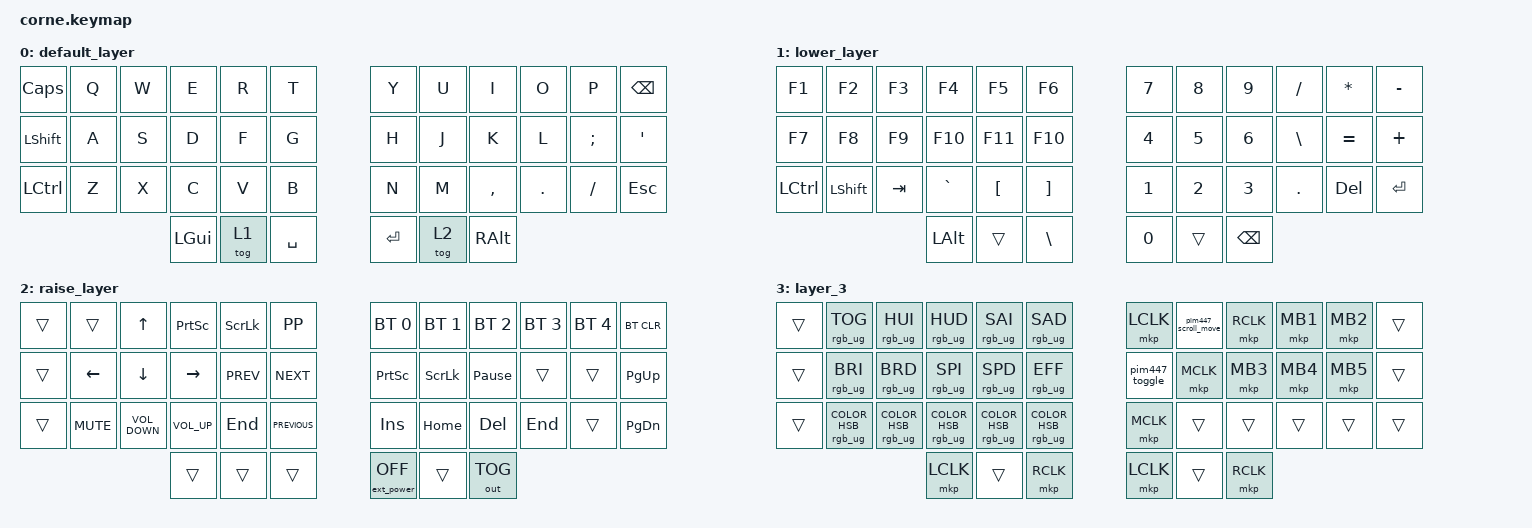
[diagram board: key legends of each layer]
/*
 * Copyright (c) 2021 The ZMK Contributors
 * #include <dt-bindings/zmk/pointing.h>
 * SPDX-License-Identifier: MIT
 */

#include <dt-bindings/led/led.h>
#include <dt-bindings/zmk/trackball_pim447.h>
#include <dt-bindings/behavior_pim447.h>
#include <dt-bindings/zmk/mouse.h>
#include <behaviors.dtsi>
#include <dt-bindings/zmk/bt.h>
#include <dt-bindings/zmk/ext_power.h>
#include <dt-bindings/zmk/keys.h>
#include <dt-bindings/zmk/outputs.h>
#include <dt-bindings/zmk/rgb.h>

/ {
    behaviors {
        tb_mode: trackball_mode {
            compatible = "zmk,behavior-trackball-mode";
            #binding-cells = <1>;
            default-mode = <0>;    /* 0=move, 1=scroll */
            /* Optional LED colors for each mode (see trackball_pim447.h) */

            led-mode-move = <2>;   /* Green (LED_GREEN) */
            led-mode-scroll = <3>; /* Blue (LED_BLUE) */
        };
    };
};

/ {
    keymap {
        compatible = "zmk,keymap";

        default_layer {
            bindings = <
&kp CAPSLOCK    &kp Q  &kp W  &kp E     &kp R   &kp T        &kp Y    &kp U   &kp I      &kp O    &kp P     &kp BACKSPACE
&kp LEFT_SHIFT  &kp A  &kp S  &kp D     &kp F   &kp G        &kp H    &kp J   &kp K      &kp L    &kp SEMI  &kp SQT
&kp LCTRL       &kp Z  &kp X  &kp C     &kp V   &kp B        &kp N    &kp M   &kp COMMA  &kp DOT  &kp FSLH  &kp ESC
                              &kp LGUI  &tog 1  &kp SPACE    &kp RET  &tog 2  &kp RALT
            >;
        };

        lower_layer {
            bindings = <
&kp F1     &kp F2          &kp F3   &kp F4        &kp F5            &kp F6               &kp NUMBER_7  &kp NUMBER_8  &kp NUMBER_9   &kp SLASH  &kp ASTERISK  &kp MINUS
&kp F7     &kp F8          &kp F9   &kp F10       &kp F11           &kp F10              &kp NUMBER_4  &kp N5        &kp NUMBER_6   &kp BSLH   &kp EQUAL     &kp PLUS
&kp LCTRL  &kp LEFT_SHIFT  &kp TAB  &kp GRAVE     &kp LEFT_BRACKET  &kp RIGHT_BRACKET    &kp NUMBER_1  &kp NUMBER_2  &kp NUMBER_3   &kp DOT    &kp DELETE    &kp ENTER
                                    &kp LEFT_ALT  &trans            &kp BSLH             &kp NUMBER_0  &trans        &kp BACKSPACE
            >;
        };

        raise_layer {
            bindings = <
&trans  &trans          &kp UP_ARROW       &kp PRINTSCREEN  &kp SCROLLLOCK  &kp K_PP          &bt BT_SEL 0       &bt BT_SEL 1    &bt BT_SEL 2     &bt BT_SEL 3  &bt BT_SEL 4  &bt BT_CLR
&trans  &kp LEFT_ARROW  &kp DOWN_ARROW     &kp RIGHT_ARROW  &kp K_PREV      &kp K_NEXT        &kp PRINTSCREEN    &kp SCROLLLOCK  &kp PAUSE_BREAK  &trans        &trans        &kp PAGE_UP
&trans  &kp K_MUTE      &kp C_VOLUME_DOWN  &kp C_VOLUME_UP  &kp END         &kp K_PREVIOUS    &kp INS            &kp HOME        &kp DELETE       &kp END       &trans        &kp PAGE_DOWN
                                           &trans           &trans          &trans            &ext_power EP_OFF  &trans          &out OUT_TOG
            >;
        };

        layer_3 {
            bindings = <
&trans  &rgb_ug RGB_TOG                 &rgb_ug RGB_HUI                   &rgb_ug RGB_HUD                  &rgb_ug RGB_SAI                   &rgb_ug RGB_SAD                     &mkp LCLK       &pim447_scroll_move  &mkp RCLK  &mkp MB1  &mkp MB2  &trans
&trans  &rgb_ug RGB_BRI                 &rgb_ug RGB_BRD                   &rgb_ug RGB_SPI                  &rgb_ug RGB_SPD                   &rgb_ug RGB_EFF                     &pim447_toggle  &mkp MCLK            &mkp MB3   &mkp MB4  &mkp MB5  &trans
&trans  &rgb_ug RGB_COLOR_HSB(0,93,49)  &rgb_ug RGB_COLOR_HSB(245,91,50)  &rgb_ug RGB_COLOR_HSB(60,97,53)  &rgb_ug RGB_COLOR_HSB(119,92,52)  &rgb_ug RGB_COLOR_HSB(301,88,49)    &mkp MCLK       &trans               &trans     &trans    &trans    &trans
                                                                          &mkp LCLK                        &trans                            &mkp RCLK                           &mkp LCLK       &trans               &mkp RCLK
            >;
        };
    };

    conditional_layers {
        compatible = "zmk,conditional-layers";

        trackball {
            if-layers = <1 2>;
            then-layer = <3>;
        };
    };
};
